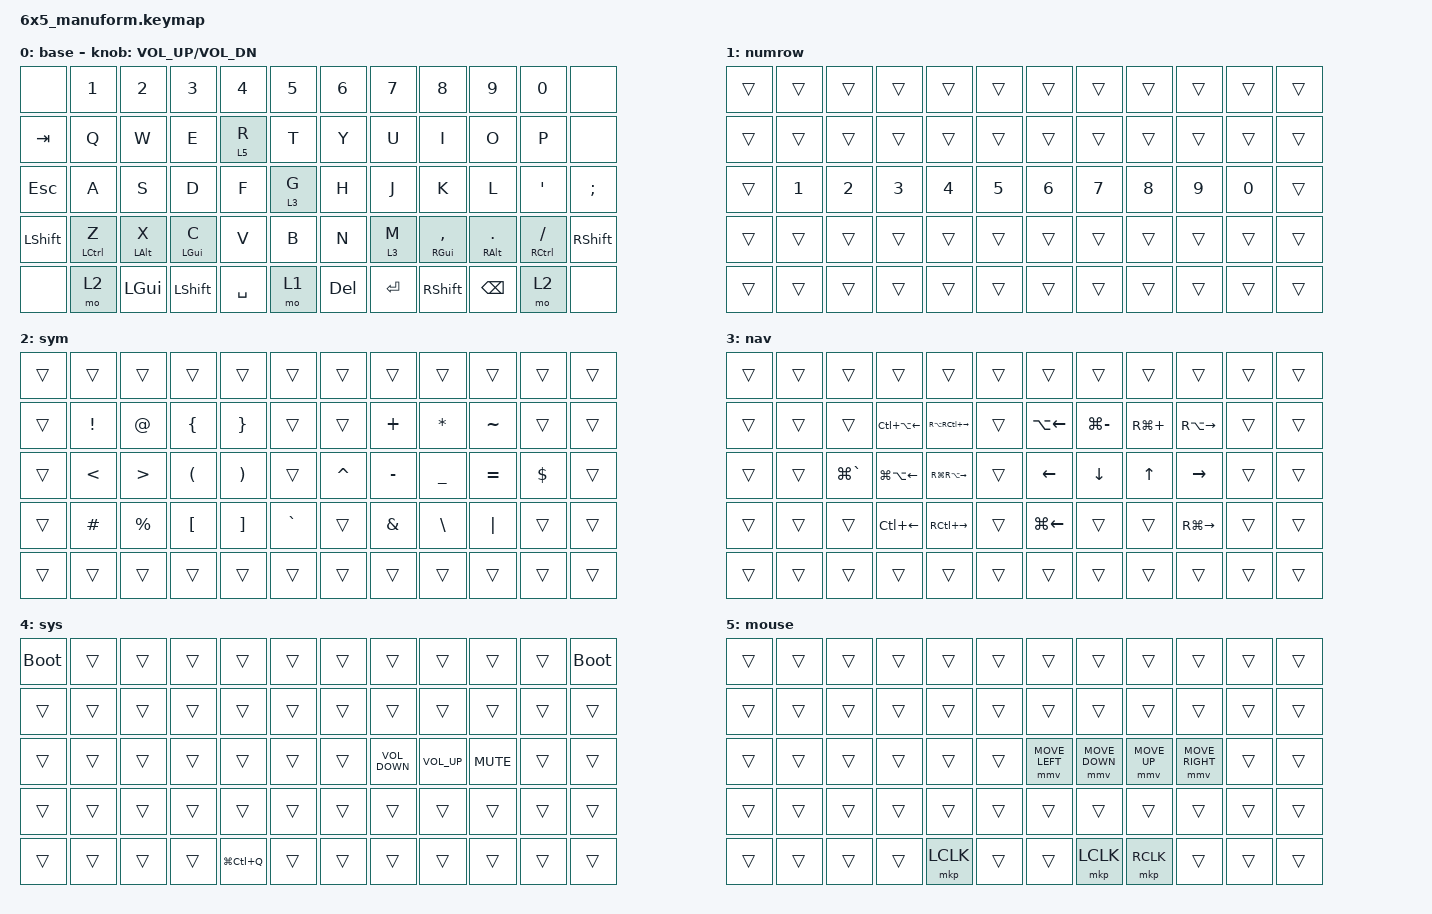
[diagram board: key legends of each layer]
/*
 * Copyright (c) 2020 The ZMK Contributors
 *
 * SPDX-License-Identifier: MIT
 */

#include <behaviors.dtsi>
#include <dt-bindings/zmk/keys.h>
#include <dt-bindings/zmk/pointing.h>

/ {
    keymap {
        compatible = "zmk,keymap";

        base {
            // ------------------------------------------------------------------------------------------------------------
            // |  ESC   |  1  |  2  |  3   |  4   |  5   |                    |  6   |  7    |  8    |  9   |   0   |   `   |
            // |  TAB   |  Q  |  W  |  E   |  R   |  T   |                    |  Y   |  U    |  I    |  O   |   P   |   -   |
            // |  CTRL  |  A  |  S  |  D   |  F   |  G   |                    |  H   |  J    |  K    |  L   |   ;   |   '   |
            // | SHIFT  |  Z  |  X  |  C   |  V   |  B   |                    |  N   |  M    |  ,    |  .   |   /   | SHIFT |
            // |    2   |  2  | f   | 6    | 4    | 1    |                    | 2    | 1     | w     | s    | n     |  a    |

            bindings = <
&none           &kp N1       &kp N2          &kp N3          &kp N4     &kp N5   &kp N6      &kp N7   &kp N8               &kp N9                &kp N0            &none
&kp TAB         &kp Q        &kp W           &kp E           &lt 5 R    &kp T    &kp Y       &kp U    &kp I                &kp O                 &kp P             &none
&kp ESCAPE      &kp A        &kp S           &kp D           &kp F      &lt 3 G  &kp H       &kp J    &kp K                &kp L                 &kp SINGLE_QUOTE  &kp SEMICOLON
&kp LEFT_SHIFT  &mt LCTRL Z  &mt LEFT_ALT X  &mt LEFT_GUI C  &kp V      &kp B    &kp N       &lt 3 M  &mt RIGHT_GUI COMMA  &mt RIGHT_ALT PERIOD  &mt RCTRL SLASH   &kp RIGHT_SHIFT
&none           &mo 2        &kp LGUI        &kp LSHFT       &kp SPACE  &mo 1    &kp DELETE  &kp RET  &kp RIGHT_SHIFT      &kp BACKSPACE         &mo 2             &none
            >;

            sensor-bindings = <&inc_dec_kp C_VOL_UP C_VOL_DN>;
        };

        numrow {
            bindings = <
&trans  &trans  &trans  &trans  &trans  &trans  &trans  &trans  &trans  &trans  &trans  &trans
&trans  &trans  &trans  &trans  &trans  &trans  &trans  &trans  &trans  &trans  &trans  &trans
&trans  &kp N1  &kp N2  &kp N3  &kp N4  &kp N5  &kp N6  &kp N7  &kp N8  &kp N9  &kp N0  &trans
&trans  &trans  &trans  &trans  &trans  &trans  &trans  &trans  &trans  &trans  &trans  &trans
&trans  &trans  &trans  &trans  &trans  &trans  &trans  &trans  &trans  &trans  &trans  &trans
            >;
        };

        sym {
            bindings = <
&trans  &trans           &trans            &trans                &trans                 &trans     &trans     &trans     &trans          &trans     &trans      &trans
&trans  &kp EXCLAMATION  &kp AT_SIGN       &kp LEFT_BRACE        &kp RIGHT_BRACE        &trans     &trans     &kp PLUS   &kp ASTERISK    &kp TILDE  &trans      &trans
&trans  &kp LESS_THAN    &kp GREATER_THAN  &kp LEFT_PARENTHESIS  &kp RIGHT_PARENTHESIS  &trans     &kp CARET  &kp MINUS  &kp UNDERSCORE  &kp EQUAL  &kp DOLLAR  &trans
&trans  &kp HASH         &kp PERCENT       &kp LEFT_BRACKET      &kp RIGHT_BRACKET      &kp GRAVE  &trans     &kp AMPS   &kp BACKSLASH   &kp PIPE   &trans      &trans
&trans  &trans           &trans            &trans                &trans                 &trans     &trans     &trans     &trans          &trans     &trans      &trans
            >;
        };

        nav {
            bindings = <
&trans  &trans  &trans         &trans                  &trans             &trans  &trans              &trans         &trans        &trans         &trans  &trans
&trans  &trans  &trans         &kp LC(LA(LEFT))        &kp RA(RC(RIGHT))  &trans  &kp LA(LEFT)        &kp LG(MINUS)  &kp RG(PLUS)  &kp RA(RIGHT)  &trans  &trans
&trans  &trans  &kp LG(GRAVE)  &kp LG(LA(LEFT_ARROW))  &kp RG(RA(RIGHT))  &trans  &kp LEFT_ARROW      &kp DOWN       &kp UP        &kp RIGHT      &trans  &trans
&trans  &trans  &trans         &kp LC(LEFT)            &kp RC(RIGHT)      &trans  &kp LG(LEFT_ARROW)  &trans         &trans        &kp RG(RIGHT)  &trans  &trans
&trans  &trans  &trans         &trans                  &trans             &trans  &trans              &trans         &trans        &trans         &trans  &trans
            >;
        };

        sys {
            bindings = <
&bootloader  &trans  &trans  &trans  &trans         &trans  &trans  &trans             &trans           &trans      &trans  &bootloader
&trans       &trans  &trans  &trans  &trans         &trans  &trans  &trans             &trans           &trans      &trans  &trans
&trans       &trans  &trans  &trans  &trans         &trans  &trans  &kp C_VOLUME_DOWN  &kp C_VOLUME_UP  &kp K_MUTE  &trans  &trans
&trans       &trans  &trans  &trans  &trans         &trans  &trans  &trans             &trans           &trans      &trans  &trans
&trans       &trans  &trans  &trans  &kp LG(LC(Q))  &trans  &trans  &trans             &trans           &trans      &trans  &trans
            >;
        };

        mouse {
            bindings = <
&trans  &trans  &trans  &trans  &trans     &trans  &trans          &trans          &trans        &trans           &trans  &trans
&trans  &trans  &trans  &trans  &trans     &trans  &trans          &trans          &trans        &trans           &trans  &trans
&trans  &trans  &trans  &trans  &trans     &trans  &mmv MOVE_LEFT  &mmv MOVE_DOWN  &mmv MOVE_UP  &mmv MOVE_RIGHT  &trans  &trans
&trans  &trans  &trans  &trans  &trans     &trans  &trans          &trans          &trans        &trans           &trans  &trans
&trans  &trans  &trans  &trans  &mkp LCLK  &trans  &trans          &mkp LCLK       &mkp RCLK     &trans           &trans  &trans
            >;
        };
    };
};
